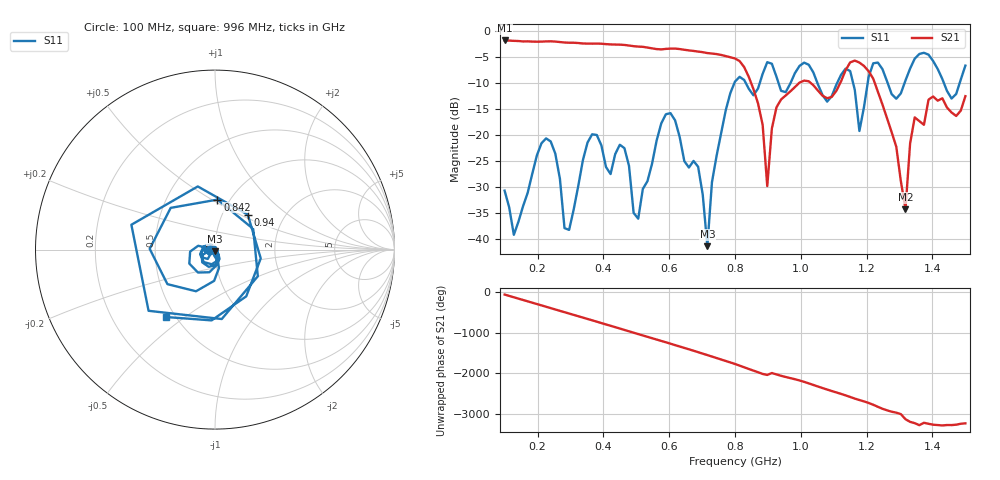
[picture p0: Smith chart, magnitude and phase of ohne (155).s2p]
! NanoVNA-App
! Date: 2025-09-25 14:22:00
! Start: 100MHz Stop: 1,5GHz Points: 101
! S-Parameter data: F S11 S21 S12 S22
# Hz S RI R 50
!  Frequency  S11_Real  S11_Imag  S21_Real  S21_Imag  S12_Real  S12_Imag  S22_Real  S22_Imag
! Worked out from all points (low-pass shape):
!   101 points, 100 MHz to 1.5 GHz, reference 50 ohm
!   highest |S21| = -1.79 dB at 100 MHz (marker M1); lowest = -34.2 dB at 1.318 GHz (marker M2)
!   |S21| within 3 dB of the highest: start of sweep to 771.6 MHz
!   lowest |S11| = -41.3 dB at 716 MHz (marker M3), VSWR 1.02, Z = 49.8 - j0.837 ohm
!   |S11| at or under -10 dB: start of sweep to 798 MHz; 833 MHz to 875.1 MHz (42.08 MHz wide, 4.93 % of centre); 1.051 GHz to 1.11 GHz (59.47 MHz wide, 5.5 % of centre) (the widest 3 of 7)
!   S12 and S22 are empty: the file has one direction only
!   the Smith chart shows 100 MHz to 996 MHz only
!   S11 on the Smith chart (normalised r, x): 100 MHz: 0.94, -0.01; 842 MHz: 0.88, +0.53; 940 MHz: 1.32, +0.55; 996 MHz: 0.45, -0.43
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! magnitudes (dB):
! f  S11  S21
! 100 MHz  -30.6  -1.8
! 128 MHz  -39.1  -1.9
! 226 MHz  -20.6  -2.0
! 296 MHz  -38.2  -2.2
! 338 MHz  -24.7  -2.4
! 464 MHz  -22.5  -2.7
! 506 MHz  -36.0  -3.0
! 576 MHz  -17.7  -3.5
! 688 MHz  -26.1  -3.9
! 716 MHz  -41.3  -4.2
! 800 MHz  -9.7  -5.3
! 842 MHz  -11.1  -8.8
! 898 MHz  -6.0  -29.8
! 940 MHz  -11.5  -13.1
! 996 MHz  -6.7  -9.9
! 1.038 GHz  -7.9  -10.4
! 1.178 GHz  -19.2  -6.0
! 1.22 GHz  -6.2  -9.1
! 1.276 GHz  -12.1  -19.4
! 1.318 GHz  -9.5  -34.2
! 1.346 GHz  -5.3  -16.6
! 1.5 GHz  -6.6  -12.5
